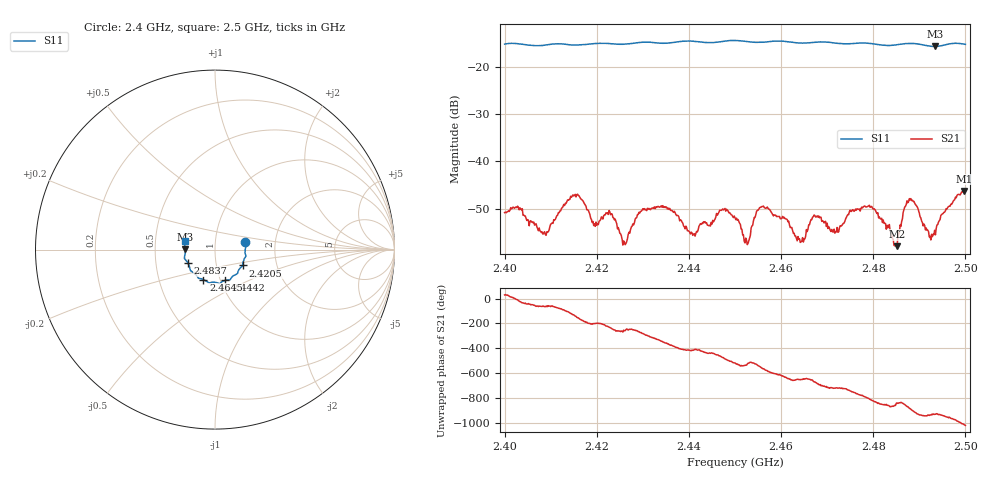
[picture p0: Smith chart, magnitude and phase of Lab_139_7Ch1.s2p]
# Hz S RI R 50
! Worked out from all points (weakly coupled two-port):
!   601 points, 2.4 GHz to 2.5 GHz, reference 50 ohm
!   highest |S21| = -46.26 dB at 2.4997 GHz (marker M1); lowest = -58.0 dB at 2.4852 GHz (marker M2)
!   lowest |S11| = -15.7 dB at 2.4935 GHz (marker M3), VSWR 1.39, Z = 35.9 + j0.11 ohm
!   |S11| at or under -10 dB: start of sweep to end of sweep
!   S12 and S22 are empty: the file has one direction only
!   S11 on the Smith chart (normalised r, x): 2.4 GHz: 1.40, +0.12; 2.4205 GHz: 1.34, -0.24; 2.4442 GHz: 1.06, -0.37; 2.4645 GHz: 0.83, -0.29; 2.4837 GHz: 0.73, -0.11; 2.5 GHz: 0.71, +0.07
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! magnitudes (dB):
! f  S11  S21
! 2.4 GHz  -15.2  -50.8
! 2.4088 GHz  -15.4  -55.5
! 2.4167 GHz  -15.3  -48.0
! 2.4205 GHz  -15.0  -52.7
! 2.4232 GHz  -15.1  -51.1
! 2.4262 GHz  -15.2  -57.6
! 2.4333 GHz  -14.9  -49.5
! 2.4442 GHz  -14.9  -53.5
! 2.45 GHz  -14.4  -51.9
! 2.4525 GHz  -14.6  -56.7
! 2.4567 GHz  -14.7  -49.9
! 2.4645 GHz  -15.0  -56.9
! 2.4667 GHz  -14.8  -52.3
! 2.472 GHz  -15.0  -54.9
! 2.4792 GHz  -15.0  -49.3
! 2.4833 GHz  -15.5  -53.7
! 2.4837 GHz  -15.5  -54.8
! 2.4852 GHz  -15.3  -58.0
! 2.4878 GHz  -15.0  -47.9
! 2.4935 GHz  -15.7  -55.6
! 2.4997 GHz  -15.2  -46.3
! 2.5 GHz  -15.2  -46.3
